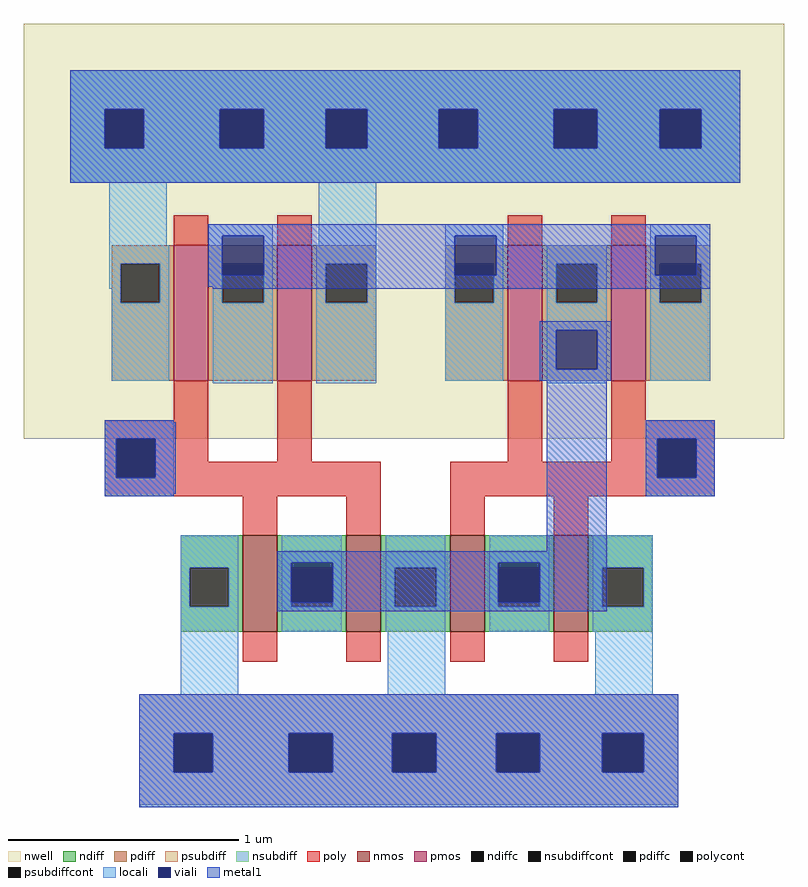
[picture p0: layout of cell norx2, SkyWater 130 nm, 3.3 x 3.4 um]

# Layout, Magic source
magic
tech sky130A
<< nwell >>
rect -20 135 310 315
<< nmos >>
rect 75 51 90 93
rect 120 51 135 93
rect 165 51 180 93
rect 210 51 225 93
<< pmos >>
rect 45 160 60 219
rect 90 160 105 219
rect 190 160 205 219
rect 235 160 250 219
<< ndiff >>
rect 48 79 75 93
rect 48 62 52 79
rect 69 62 75 79
rect 48 51 75 62
rect 90 79 120 93
rect 90 62 96 79
rect 114 62 120 79
rect 90 51 120 62
rect 135 79 165 93
rect 135 62 141 79
rect 159 62 165 79
rect 135 51 165 62
rect 180 79 210 93
rect 180 62 186 79
rect 204 62 210 79
rect 180 51 210 62
rect 225 79 253 93
rect 225 62 231 79
rect 249 62 253 79
rect 225 51 253 62
<< pdiff >>
rect 18 211 45 219
rect 18 194 22 211
rect 39 194 45 211
rect 18 160 45 194
rect 60 211 90 219
rect 60 194 66 211
rect 84 194 90 211
rect 60 160 90 194
rect 105 211 133 219
rect 105 194 111 211
rect 129 194 133 211
rect 105 160 133 194
rect 163 211 190 219
rect 163 194 167 211
rect 184 194 190 211
rect 163 160 190 194
rect 205 211 235 219
rect 205 194 211 211
rect 229 194 235 211
rect 205 160 235 194
rect 250 211 278 219
rect 250 194 256 211
rect 274 194 278 211
rect 250 160 278 194
<< ndiffc >>
rect 52 62 69 79
rect 96 62 114 79
rect 141 62 159 79
rect 186 62 204 79
rect 231 62 249 79
<< pdiffc >>
rect 22 194 39 211
rect 66 194 84 211
rect 111 194 129 211
rect 167 194 184 211
rect 211 194 229 211
rect 256 194 274 211
<< psubdiff >>
rect 30 7 264 24
rect 30 -10 45 7
rect 62 -10 95 7
rect 114 -10 140 7
rect 159 -10 185 7
rect 204 -10 231 7
rect 249 -10 264 7
rect 30 -24 264 -10
<< nsubdiff >>
rect 0 278 291 295
rect 0 261 15 278
rect 32 261 65 278
rect 84 261 111 278
rect 129 261 160 278
rect 177 261 210 278
rect 229 261 256 278
rect 274 261 291 278
rect 0 246 291 261
<< psubdiffcont >>
rect 45 -10 62 7
rect 95 -10 114 7
rect 140 -10 159 7
rect 185 -10 204 7
rect 231 -10 249 7
<< nsubdiffcont >>
rect 15 261 32 278
rect 65 261 84 278
rect 111 261 129 278
rect 160 261 177 278
rect 210 261 229 278
rect 256 261 274 278
<< poly >>
rect 45 219 60 232
rect 90 219 105 232
rect 190 219 205 232
rect 235 219 250 232
rect 45 143 60 160
rect 15 135 60 143
rect 15 118 20 135
rect 37 125 60 135
rect 90 125 105 160
rect 190 125 205 160
rect 235 143 250 160
rect 235 135 280 143
rect 235 125 255 135
rect 37 118 135 125
rect 15 110 135 118
rect 75 93 90 110
rect 120 93 135 110
rect 165 118 255 125
rect 272 118 280 135
rect 165 110 280 118
rect 165 93 180 110
rect 210 93 225 110
rect 75 38 90 51
rect 120 38 135 51
rect 165 38 180 51
rect 210 38 225 51
<< polycont >>
rect 20 118 37 135
rect 255 118 272 135
<< locali >>
rect 0 278 291 295
rect 0 261 15 278
rect 32 261 65 278
rect 84 261 111 278
rect 129 261 160 278
rect 177 261 210 278
rect 229 261 256 278
rect 274 261 291 278
rect 0 246 291 261
rect 17 219 42 246
rect 60 223 88 228
rect 17 211 43 219
rect 17 200 22 211
rect 18 194 22 200
rect 39 194 43 211
rect 60 201 66 223
rect 18 160 43 194
rect 62 194 66 201
rect 84 194 88 223
rect 108 219 133 246
rect 62 159 88 194
rect 107 211 133 219
rect 107 194 111 211
rect 129 194 133 211
rect 107 159 133 194
rect 163 223 188 228
rect 163 194 167 223
rect 185 206 188 223
rect 252 223 278 228
rect 184 194 188 206
rect 163 160 188 194
rect 207 211 233 219
rect 207 194 211 211
rect 229 194 233 211
rect 207 182 233 194
rect 207 165 211 182
rect 229 165 233 182
rect 207 159 233 165
rect 252 206 254 223
rect 272 211 278 223
rect 252 194 256 206
rect 274 194 278 211
rect 252 160 278 194
rect 15 135 45 143
rect 15 118 20 135
rect 37 118 45 135
rect 15 110 45 118
rect 250 135 280 143
rect 250 118 255 135
rect 272 118 280 135
rect 250 110 280 118
rect 48 79 73 93
rect 48 62 52 79
rect 69 62 73 79
rect 48 24 73 62
rect 92 81 118 93
rect 92 62 96 81
rect 114 62 118 81
rect 92 51 118 62
rect 137 79 163 93
rect 137 62 141 79
rect 159 62 163 79
rect 137 51 163 62
rect 182 81 208 93
rect 182 62 186 81
rect 204 62 208 81
rect 182 51 208 62
rect 227 79 253 93
rect 227 62 231 79
rect 249 62 253 79
rect 227 51 253 62
rect 138 24 163 51
rect 228 24 253 51
rect 30 7 264 24
rect 30 -10 45 7
rect 62 -10 95 7
rect 114 -10 140 7
rect 159 -10 185 7
rect 204 -10 231 7
rect 249 -10 264 7
rect 30 -25 264 -10
<< viali >>
rect 15 261 32 278
rect 65 261 84 278
rect 111 261 129 278
rect 160 261 177 278
rect 210 261 229 278
rect 256 261 274 278
rect 66 211 84 223
rect 66 206 84 211
rect 167 211 185 223
rect 167 206 184 211
rect 184 206 185 211
rect 211 165 229 182
rect 254 211 272 223
rect 254 206 256 211
rect 256 206 272 211
rect 20 118 37 135
rect 255 118 272 135
rect 96 79 114 81
rect 96 64 114 79
rect 186 79 204 81
rect 186 64 204 79
rect 45 -10 62 7
rect 95 -10 114 7
rect 140 -10 159 7
rect 185 -10 204 7
rect 231 -10 249 7
<< metal1 >>
rect 0 278 291 295
rect 0 261 15 278
rect 32 261 65 278
rect 84 261 111 278
rect 129 261 160 278
rect 177 261 210 278
rect 229 261 256 278
rect 274 261 291 278
rect 0 246 291 261
rect 60 223 278 228
rect 60 206 66 223
rect 84 206 167 223
rect 185 206 254 223
rect 272 206 278 223
rect 60 201 278 206
rect 62 200 278 201
rect 204 182 235 186
rect 204 165 211 182
rect 229 165 235 182
rect 204 160 235 165
rect 15 142 45 143
rect 15 135 46 142
rect 15 118 20 135
rect 37 118 46 135
rect 15 111 46 118
rect 15 110 45 111
rect 207 86 233 160
rect 250 135 280 143
rect 250 118 255 135
rect 272 118 280 135
rect 250 110 280 118
rect 90 81 233 86
rect 90 64 96 81
rect 114 64 186 81
rect 204 64 233 81
rect 90 60 233 64
rect 30 7 264 24
rect 30 -10 45 7
rect 62 -10 95 7
rect 114 -10 140 7
rect 159 -10 185 7
rect 204 -10 231 7
rect 249 -10 264 7
rect 30 -25 264 -10
<< end >>
